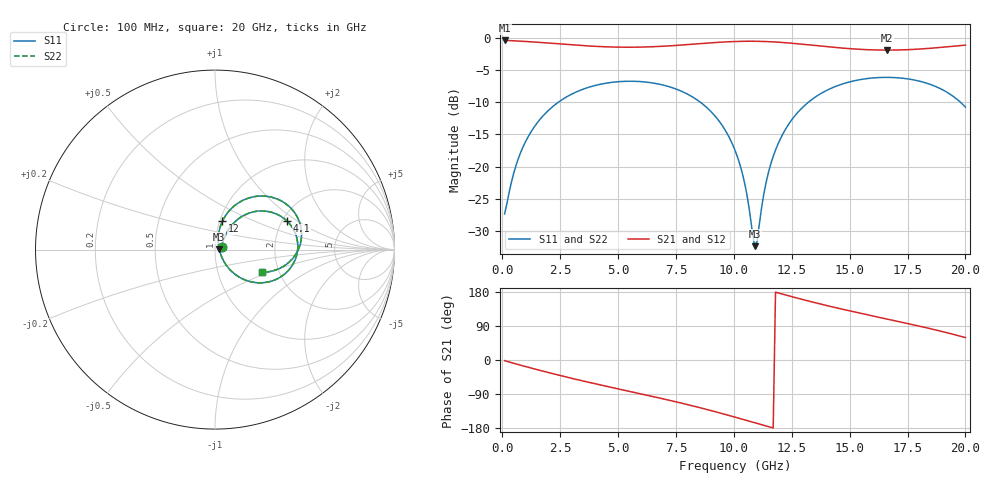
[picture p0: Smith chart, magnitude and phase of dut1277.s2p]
! Touchstone file exported from HFSS 2026.1.0
!  File:  C:/ffzhzh/LocalFiles/Ansys_Project_Files/temp_train_TSV_RDL_1277_1783329783_38704.aedt
!  Generated:  05:34:06 PM Jul  6, 2026
!  Design:  TSV_RDL
!  Project:  temp_train_TSV_RDL_1277_1783329783_38704
! Variables:
!  h_bsmrdl = 2.64um
!  h_ox = 20um
!  h_rdl = 5um
!  h_sub = 95.5um
!  h_tmrdl = 2.21um
!  h_tsv = 95.5um
!  h_via = 3um
!  l_bsmrdl = 251.34um
!  l_sub = 4636.49um
!  l_tmrdl = 839.86um
!  m_sub = 200um
!  pitch = 40.19um
!  r_tsv = 11.57um
!  s_tmrdl = 10um
!  w_bsmrdl = 26.07um
!  w_sub = 500um
!  w_tmrdl = 14.94um
!  x_tsv_center1 = 847.33um
!  x_tsv_center2 = 1124.74um
!  x_tsv_center3 = 1979.54um
!  x_tsv_center4 = 2256.95um
!  x_tsv_center5 = 3111.75um
!  x_tsv_center6 = 3389.16um
# GHz S MA R 50.000000
! Terminal data exported
! Port[1] = TM_RDL1_1_T1
! Port[2] = TM_RDL5_1_T1
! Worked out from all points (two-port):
!   200 points, 100 MHz to 20 GHz, reference 50 ohm
!   highest |S21| = -0.35 dB at 100 MHz (marker M1); lowest = -1.9 dB at 16.6 GHz (marker M2)
!   |S21| within 3 dB of the highest: start of sweep to end of sweep
!   lowest |S11| = -32.4 dB at 10.9 GHz (marker M3), VSWR 1.05, Z = 52.5 + j0.0784 ohm
!   |S11| at or under -10 dB: start of sweep to 2.412 GHz; 8.561 GHz to 13.21 GHz (4.651 GHz wide, 42.7 % of centre); 19.79 GHz to end of sweep
!   |S22| runs from -32.5 to -6.1 dB; largest |S21 - S12| = 2.1e-14
!   S11 on the Smith chart (normalised r, x): 100 MHz: 1.08, +0.03; 4.1 GHz: 2.13, +0.83; 12 GHz: 1.03, +0.33; 20 GHz: 1.63, -0.45
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0.1  0.04268 20.8  0.9605 -1.8  0.9605 -1.8  0.04268 20.8
! Gamma 0 0 0 0
! Port Impedance 50 0 50 0
0.6  0.103 54.5  0.9522 -10.5  0.9522 -10.5  0.103 54.5
1.3  0.1935 54.2  0.936 -22.1  0.936 -22.1  0.1935 54.2
2.3  0.3054 43.8  0.908 -37.9  0.908 -37.9  0.3054 43.8
3.5  0.4011 29.0  0.8751 -55.6  0.8751 -55.6  0.4011 29.0
4.1  0.4321 21.5  0.8626 -64.0  0.8626 -64.0  0.4321 21.5
6.8  0.4374 -12.3  0.8631 -100.5  0.8631 -100.5  0.4374 -12.2
8.8  0.2916 -39.1  0.9146 -130.1  0.9146 -130.1  0.2916 -39.0
9.5  0.2085 -48.2  0.9325 -141.4  0.9325 -141.4  0.2085 -48.2
10.1  0.1267 -53.8  0.9432 -151.6  0.9432 -151.6  0.1267 -53.8
10.5  0.06942 -51.4  0.9466 -158.5  0.9466 -158.5  0.06939 -51.4
10.9  0.02394 1.8  0.9467 -165.5  0.9467 -165.5  0.02384 1.8
11  0.02604 35.6  0.9461 -167.2  0.9461 -167.2  0.02595 35.7
11.3  0.06181 72.9  0.9431 -172.4  0.9431 -172.4  0.06177 73.0
11.5  0.09066 76.9  0.9401 -175.9  0.9401 -175.9  0.09063 77.0
12  0.163 75.4  0.929 175.6  0.929 175.6  0.163 75.4
13.4  0.3361 57.8  0.8814 152.9  0.8814 152.9  0.336 57.8
14.8  0.4462 39.2  0.8341 132.5  0.8341 132.5  0.4462 39.3
16.6  0.4953 16.9  0.8078 108.4  0.8078 108.4  0.4952 17.0
16.7  0.4951 15.7  0.8078 107.1  0.8078 107.1  0.4951 15.8
18.3  0.4477 -4.1  0.8297 85.4  0.8297 85.4  0.4476 -4.0
20  0.2906 -25.7  0.8833 59.2  0.8833 59.2  0.2906 -25.6
